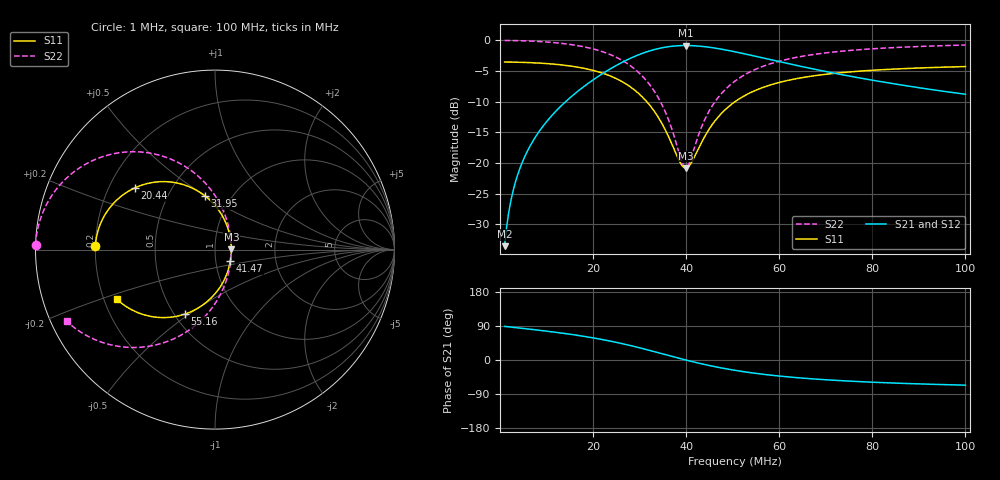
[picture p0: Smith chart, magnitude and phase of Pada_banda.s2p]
! Created Thu Nov 16 12:56:43 2023
# mhz S ri R 50
! 2 Port Network Data from SP1.SP block
! freq  reS11  imS11  reS21  imS21  reS12  imS12  reS22  imS22
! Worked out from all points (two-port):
!   500 points, 1 MHz to 100 MHz, reference 50 ohm
!   highest |S21| = -0.83 dB at 39.89 MHz (marker M1); lowest = -33.6 dB at 1 MHz (marker M2)
!   |S21| within 3 dB of the highest: 25.6 MHz to 62.22 MHz (36.62 MHz wide, 83.4 % of centre)
!   lowest |S11| = -20.8 dB at 39.89 MHz (marker M3), VSWR 1.20, Z = 60 + j0.139 ohm
!   |S11| at or under -10 dB: 31.55 MHz to 50.49 MHz (18.94 MHz wide, 46.2 % of centre)
!   |S22| runs from -20.8 to 0.0 dB; largest |S21 - S12| = 0
!   S11 on the Smith chart (normalised r, x): 1 MHz: 0.20, +0.01; 20.44 MHz: 0.31, +0.31; 31.95 MHz: 0.76, +0.50; 41.47 MHz: 1.18, -0.15; 55.16 MHz: 0.57, -0.48; 100 MHz: 0.25, -0.23
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1  -0.6663 0.0175  0.000483 0.0209  0.000483 0.0209  -0.9994 0.0251
1.991984  -0.6651 0.0348  0.00192 0.0417  0.00192 0.0417  -0.9977 0.0501
2.983968  -0.6631 0.0521  0.00432 0.0625  0.00432 0.0625  -0.9948 0.0751
4.372745  -0.6589 0.0765  0.00935 0.0917  0.00935 0.0917  -0.9888 0.1101
5.95992  -0.652 0.1043  0.0176 0.1252  0.0176 0.1252  -0.9789 0.1502
10.72144  -0.6165 0.1883  0.0602 0.226  0.0602 0.226  -0.9278 0.2712
17.66533  -0.5122 0.3052  0.1854 0.3663  0.1854 0.3663  -0.7775 0.4395
20.44289  -0.4473 0.3436  0.2633 0.4123  0.2633 0.4123  -0.6841 0.4948
26.59319  -0.2513 0.377  0.4984 0.4524  0.4984 0.4524  -0.4019 0.5429
31.9499  -0.0548 0.2986  0.7342 0.3583  0.7342 0.3583  -0.1189 0.43
34.13226  0.0117 0.2318  0.814 0.2782  0.814 0.2782  -0.0232 0.3338
36.31463  0.0601 0.1496  0.8721 0.1795  0.8721 0.1795  0.0466 0.2154
38.69539  0.0875 0.0509  0.905 0.061  0.905 0.061  0.086 0.0732
39.88577  0.0909 0.00115  0.9091 0.00138  0.9091 0.00138  0.0909 0.00166
41.47295  0.0857 -0.0627  0.9028 -0.0753  0.9028 -0.0753  0.0834 -0.0903
43.25852  0.0683 -0.1288  0.882 -0.1545  0.882 -0.1545  0.0584 -0.1855
45.24249  0.0383 -0.1926  0.8459 -0.2312  0.8459 -0.2312  0.0151 -0.2774
50.5992  -0.0707 -0.3104  0.7151 -0.3724  0.7151 -0.3724  -0.1418 -0.4469
55.16232  -0.1659 -0.3586  0.6009 -0.4303  0.6009 -0.4303  -0.2789 -0.5164
67.06613  -0.35 -0.3737  0.38 -0.4484  0.38 -0.4484  -0.544 -0.5381
83.53307  -0.4812 -0.3257  0.2226 -0.3909  0.2226 -0.3909  -0.7329 -0.4691
100  -0.5454 -0.2778  0.1455 -0.3334  0.1455 -0.3334  -0.8254 -0.4
